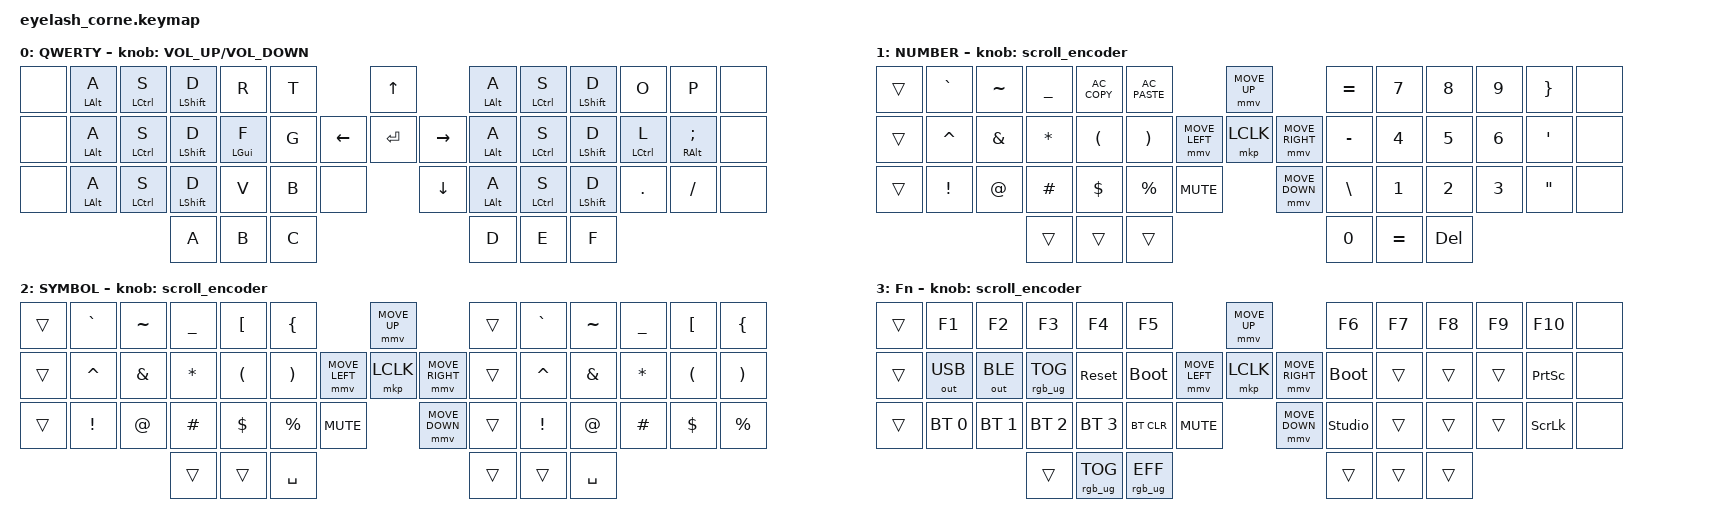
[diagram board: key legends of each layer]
#define ZMK_POINTING_DEFAULT_MOVE_VAL 1200  // 600
#define ZMK_POINTING_DEFAULT_SCRL_VAL 25   // 10

#include <input/processors.dtsi>
#include <zephyr/dt-bindings/input/input-event-codes.h>
#include <behaviors.dtsi>
#include <dt-bindings/zmk/bt.h>
#include <dt-bindings/zmk/keys.h>
#include <dt-bindings/zmk/outputs.h>
#include <dt-bindings/zmk/pointing.h>
#include <dt-bindings/zmk/rgb.h>

&mmv_input_listener { input-processors = <&zip_xy_scaler 2 1>; };

&msc_input_listener { input-processors = <&zip_scroll_scaler 2 1>; };

&msc {
    acceleration-exponent = <1>;      // 0
    time-to-max-speed-ms = <100>;       // 300
    delay-ms = <0>;                   // 0
};

&mmv {
    time-to-max-speed-ms = <500>;
    acceleration-exponent = <1>;
    trigger-period-ms = <16>;
};

/ {
    behaviors {
        td0: td0 {
            compatible = "zmk,behavior-tap-dance";
            display-name = "Shift/Caps Lock Tap Dance";
            #binding-cells = <0>;
            bindings = <&kp LEFT_SHIFT>, <&kp CAPS>;
        };

        HT: HT {
            compatible = "zmk,behavior-hold-tap";
            label = "HT";
            bindings = <&kp>, <&kp>;

            #binding-cells = <2>;
            tapping-term-ms = <200>;
        };
    };

    combos {
        compatible = "zmk,combos";

        LBRKT {
            bindings = <&kp LEFT_BRACKET>;
            key-positions = <16 17>;
        };

        RBRCK {
            bindings = <&kp RIGHT_BRACKET>;
            key-positions = <23 24>;
        };

        LBR {
            bindings = <&kp LBRC>;
            key-positions = <15 16>;
        };

        RBR {
            bindings = <&kp RBRC>;
            key-positions = <25 24>;
        };
    };

    rgb_encoder: rgb_encoder {
        compatible = "zmk,behavior-sensor-rotate";
        #sensor-binding-cells = <0>;
        bindings = <&rgb_ug RGB_BRI>, <&rgb_ug RGB_BRD>;
    };

    scroll_encoder: scroll_encoder {
        compatible = "zmk,behavior-sensor-rotate";
        #sensor-binding-cells = <0>;
        bindings = <&msc SCRL_DOWN>, <&msc SCRL_UP>;

        tap-ms = <100>;
    };

    keymap {
        compatible = "zmk,keymap";

        default_layer {
            display-name = "QWERTY";
            bindings = <
&none    &HT LALT A  &HT LCTRL S  &HT LSHIFT D  &kp R       &kp T                               &kp UP                &HT LALT A  &HT LCTRL S  &HT LSHIFT D  &kp O        &kp P          &none  
&none    &HT LALT A  &HT LCTRL S  &HT LSHIFT D  &HT LGUI F  &kp G                     &kp LEFT  &kp ENTER  &kp RIGHT  &HT LALT A  &HT LCTRL S  &HT LSHIFT D &HT LCTRL L  &HT RALT SEMI  &none  
&none    &HT LALT A  &HT LCTRL S  &HT LSHIFT D  &kp V       &kp B        &none                  &kp DOWN              &HT LALT A  &HT LCTRL S  &HT LSHIFT D  &kp DOT      &kp FSLH       &none  
                                  &kp A         &kp B       &kp C                                                     &kp D       &kp E       &kp F
            >;

             sensor-bindings = <&inc_dec_kp C_VOLUME_UP C_VOLUME_DOWN>;

           
        };

        lower_layer {
            display-name = "NUMBER";
            bindings = <
&trans  &kp GRAVE  &kp TILDE  &kp UNDER  &kp C_AC_COPY  &kp C_AC_PASTE                                 &mmv MOVE_UP                     &kp EQUAL  &kp N7     &kp N8   &kp N9  &kp RIGHT_BRACE    &none
&trans  &kp CARET  &kp AMPS   &kp ASTRK  &kp LPAR       &kp RPAR                       &mmv MOVE_LEFT  &mkp LCLK       &mmv MOVE_RIGHT  &kp MINUS  &kp N4     &kp N5   &kp N6  &kp SQT            &none
&trans  &kp EXCL   &kp AT     &kp HASH   &kp DLLR       &kp PRCNT        &kp C_MUTE                    &mmv MOVE_DOWN                   &kp BSLH   &kp N1     &kp N2   &kp N3  &kp DOUBLE_QUOTES  &none
                              &trans     &trans         &trans                                                                          &kp N0     &kp EQUAL  &kp DEL
            >;

            sensor-bindings = <&scroll_encoder>;
        };

        raise_layer {
            display-name = "SYMBOL";
            bindings = <
&trans  &kp GRAVE  &kp TILDE  &kp UNDER  &kp LEFT_BRACKET  &kp LEFT_BRACE                                 &mmv MOVE_UP                     &trans  &kp GRAVE  &kp TILDE  &kp UNDER  &kp LEFT_BRACKET  &kp LEFT_BRACE 
&trans  &kp CARET  &kp AMPS   &kp ASTRK  &kp LPAR          &kp RPAR                       &mmv MOVE_LEFT  &mkp LCLK       &mmv MOVE_RIGHT  &trans  &kp CARET  &kp AMPS   &kp ASTRK  &kp LPAR          &kp RPAR       
&trans  &kp EXCL   &kp AT     &kp HASH   &kp DLLR          &kp PRCNT        &kp C_MUTE                    &mmv MOVE_DOWN                   &trans  &kp EXCL   &kp AT     &kp HASH   &kp DLLR          &kp PRCNT      
                              &trans     &trans            &kp SPACE                                                                                                     &trans     &trans            &kp SPACE      
            >;

            sensor-bindings = <&scroll_encoder>;
        };

        layer_3 {
            display-name = "Fn";
            bindings = <
&trans  &kp F1        &kp F2        &kp F3           &kp F4           &kp F5                                          &mmv MOVE_UP                     &kp F6         &kp F7  &kp F8  &kp F9  &kp F10          &none
&trans  &out OUT_USB  &out OUT_BLE  &rgb_ug RGB_TOG  &sys_reset       &bootloader                     &mmv MOVE_LEFT  &mkp LCLK       &mmv MOVE_RIGHT  &bootloader    &trans  &trans  &trans  &kp PRINTSCREEN  &none
&trans  &bt BT_SEL 0  &bt BT_SEL 1  &bt BT_SEL 2     &bt BT_SEL 3     &bt BT_CLR        &kp C_MUTE                    &mmv MOVE_DOWN                   &studio_unlock &trans  &trans  &trans  &kp SCROLLLOCK   &none
                                    &trans           &rgb_ug RGB_TOG  &rgb_ug RGB_EFF                                                                  &trans         &trans  &trans 
            >;

            sensor-bindings = <&scroll_encoder>;
        };
    };
};
